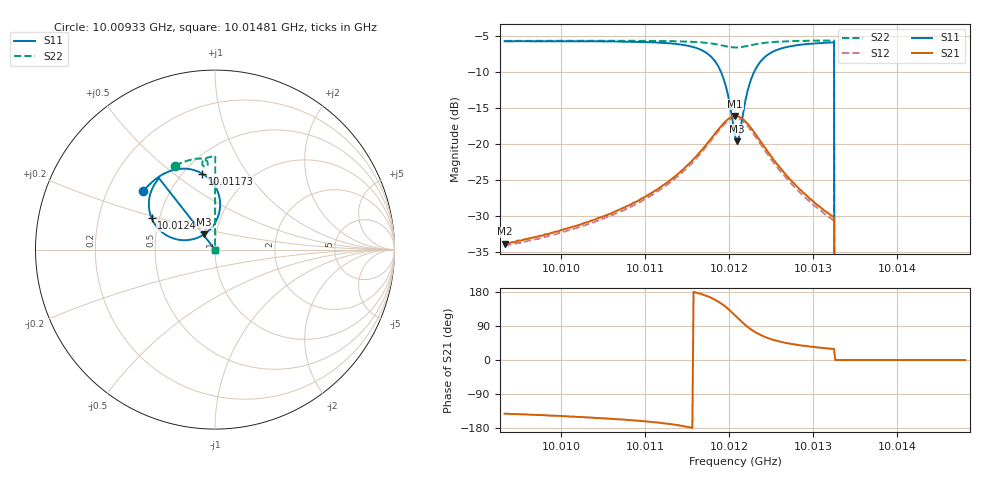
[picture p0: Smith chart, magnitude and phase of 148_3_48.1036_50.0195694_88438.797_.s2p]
#  HZ  S  RI  R  50.00
! Rohde & Schwarz Vector Network Analyzer
! Rohde-Schwarz,ZNB20-2Port,1311601062101988,3.16
! Created: UTC 12/23/2023, 3:49:29 AM
! freq[Hz]  re:S11  im:S11  re:S21  im:S21  re:S12  im:S12  re:S22  im:S22
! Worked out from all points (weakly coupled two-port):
!   401 points, 10.00933 GHz to 10.01481 GHz, reference 50 ohm
!   highest |S21| = -16.13 dB at 10.01207 GHz (marker M1); lowest = -33.8 dB at 10.00933 GHz (marker M2)
!   lowest |S11| = -19.6 dB at 10.0121 GHz (marker M3), VSWR 1.23, Z = 43.7 + j7.5 ohm
!   |S11| at or under -10 dB: 10.0119 GHz to 10.0123 GHz (396.6 kHz wide, 0.00396 % of centre); 10.01325 GHz to end of sweep
!   |S22| runs from - to -5.7 dB; largest |S21 - S12| = 0.0075
!   S11 on the Smith chart (normalised r, x): 10.00933 GHz: 0.36, +0.31; 10.01173 GHz: 0.62, +0.64; 10.01241 GHz: 0.45, +0.19; 10.01481 GHz: 1.00, +0.00
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1.0009328e10  -0.3992 0.3244  -0.016 -0.0126  -0.0148 -0.0129  -0.2215 0.4677
1.0010247e10  -0.3444 0.3818  -0.0244 -0.0136  -0.0228 -0.0143  -0.1651 0.4916
1.0010754e10  -0.2999 0.414  -0.0335 -0.0139  -0.0316 -0.0149  -0.1314 0.5014
1.0011165e10  -0.2445 0.4398  -0.0478 -0.0124  -0.0453 -0.0143  -0.1014 0.5067
1.0011481e10  -0.1712 0.4511  -0.0688 -0.00526  -0.066 -0.00873  -0.0753 0.507
1.0011727e10  -0.07 0.4227  -0.0971 0.0174  -0.095 0.0121  -0.0521 0.499
1.0011837e10  -0.0116 0.3706  -0.1105 0.0439  -0.1096 0.0368  -0.0431 0.4898
1.0011919e10  0.0229 0.2979  -0.1141 0.0739  -0.1142 0.0671  -0.0402 0.4795
1.0011988e10  0.0253 0.2145  -0.105 0.105  -0.1068 0.0979  -0.0423 0.47
1.001207e10  -0.0288 0.111  -0.0727 0.1381  -0.0762 0.1316  -0.052 0.4626
1.0012097e10  -0.0608 0.085  -0.0581 0.1445  -0.0619 0.1382  -0.0561 0.4624
1.0012125e10  -0.097 0.066  -0.0429 0.1477  -0.0467 0.1419  -0.0601 0.4633
1.0012193e10  -0.1922 0.0535  -0.00572 0.1432  -0.00998 0.1383  -0.0682 0.4696
1.0012248e10  -0.256 0.072  0.0171 0.1305  0.0116 0.1265  -0.0712 0.477
1.0012317e10  -0.3121 0.1126  0.0345 0.111  0.0295 0.1077  -0.0706 0.4861
1.0012413e10  -0.3531 0.1746  0.0452 0.0853  0.0402 0.083  -0.0652 0.4967
1.001266e10  -0.3654 0.2882  0.0438 0.0451  0.0397 0.0448  -0.0448 0.5115
1.0012989e10  -0.3369 0.3637  0.0333 0.023  0.0307 0.0235  -0.018 0.5188
1.0013222e10  -0.3146 0.3949  0.0276 0.0157  0.0255 0.0163  -0.000498 0.5208
1.001329e10  0 0  0 0  0 0  0 0
1.0013907e10  0 0  0 0  0 0  0 0
1.0014812e10  0 0  0 0  0 0  0 0
